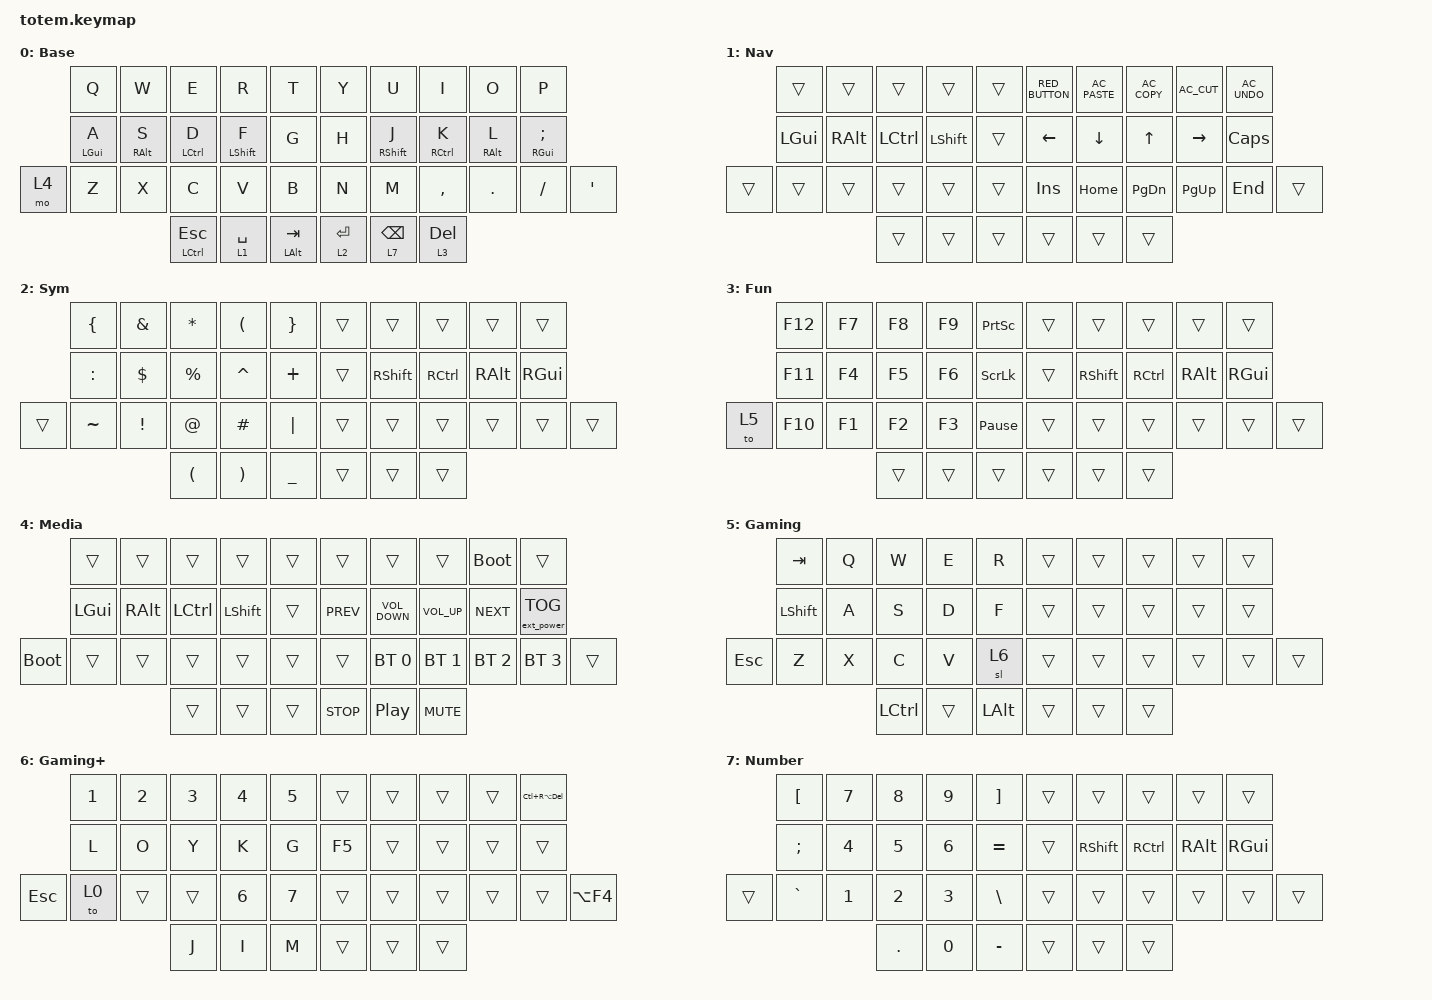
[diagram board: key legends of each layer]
//
//                                                        ▀▀▀▀▀     ▀▀▀▀▀          ▀▀█▀▀
//                                                        ▄▀▀▀▄  ▄  ▄▀▀▀▄  ▄  ▄▀▀▀▄  █  ▄▀▀▀▄
//                                                        █   █  █  █   █  █  █   █  █  █   █
//                                                         ▀▀▀   █   ▀▀▀   █   ▀▀▀   ▀   ▀▀▀
//                                                               █      ▄▄▄█▄▄▄    █   █  
//                                                               ▀      █  █  █     █▄█
//                                                             ▀▀▀▀▀    █  █  █      ▀
//                                                                      ▀  ▀  ▀
//
// ▄▄▄▄▄▄▄▄▄▄▄▄▄▄▄▄▄▄▄▄▄▄▄▄▄▄▄▄▄▄▄▄▄▄▄▄▄▄▄▄▄▄▄▄▄▄▄▄▄▄▄▄▄▄▄▄▄▄▄▄▄▄▄▄▄▄▄▄▄▄▄▄▄▄▄▄▄▄▄▄▄▄▄▄▄▄▄▄▄▄▄▄▄▄▄▄▄▄▄▄▄▄▄▄▄▄▄▄▄▄▄▄▄▄▄▄▄▄▄▄▄▄▄▄▄▄▄▄▄▄▄▄▄▄▄▄▄▄▄▄▄▄▄▄▄▄▄▄▄

#include <behaviors.dtsi>
#include <dt-bindings/zmk/bt.h>
#include <dt-bindings/zmk/ext_power.h>
#include <dt-bindings/zmk/keys.h>

#define Base        0
#define Media       1
#define Nav         2
#define Mouse       3
#define Sym         4
#define Num         5
#define Fun         6
#define Button      7
#define Game        8
#define Gameplus    9

&mt {
    quick-tap-ms = <100>;
    global-quick-tap;
    flavor = "tap-preferred";
    tapping-term-ms = <170>;
};

&lt {
    tapping-term-ms = <240>;
    flavor = "balanced";
    quick-tap-ms = <150>;
};

/ {
    behaviors {
        hml: homerow_mods {
            compatible = "zmk,behavior-hold-tap";
            label = "HOMEROW_MODS";
            #binding-cells = <2>;
            flavor = "balanced";
            tapping-term-ms = <280>;
            quick-tap-ms = <175>;
            global-quick-tap;
            bindings = <&kp>, <&kp>;

            require-prior-idle-ms = <150>;
            hold-trigger-on-release;
            hold-trigger-key-positions = <32 33 34 35 37 36 26 27 16 15 5 6 7 17 28 29 18 8 9 30 19 31>;
        };

        hmr: hmr {
            compatible = "zmk,behavior-hold-tap";
            label = "HMR";
            #binding-cells = <2>;
            flavor = "balanced";
            tapping-term-ms = <280>;
            quick-tap-ms = <175>;
            global-quick-tap;
            bindings = <&kp>, <&kp>;

            require-prior-idle-ms = <150>;
            hold-trigger-on-release;
            hold-trigger-key-positions = <32 33 34 35 37 36 25 24 23 22 21 20 10 0 11 1 2 12 3 13 14 4>;
        };
    };

    combos { compatible = "zmk,combos"; };

    keymap {
        compatible = "zmk,keymap";

        Base {
            label = "Base";
            bindings = <
       &kp Q        &kp W             &kp E          &kp R          &kp T               &kp Y        &kp U          &kp I         &kp O             &kp P
       &hml LGUI A  &hml RIGHT_ALT S  &hml LCTRL D   &hml LSHIFT F  &kp G               &kp H        &hmr RSHIFT J  &hmr RCTRL K  &hmr RIGHT_ALT L  &hmr RGUI SEMICOLON
&mo 4  &kp Z        &kp X             &kp C          &kp V          &kp B               &kp N        &kp M          &kp COMMA     &kp DOT           &kp SLASH            &kp APOSTROPHE
                                      &mt LCTRL ESC  &lt 1 SPACE    &mt LEFT_ALT TAB    &lt 2 ENTER  &lt 7 BSPC     &lt 3 DELETE
            >;
        };

        Nav {
            label = "Nav";
            bindings = <
        &trans    &trans         &trans     &trans     &trans    &kp C_RED_BUTTON  &kp C_AC_PASTE  &kp C_AC_COPY  &kp C_AC_CUT  &kp C_AC_UNDO
        &kp LGUI  &kp RIGHT_ALT  &kp LCTRL  &kp LSHFT  &trans    &kp LEFT_ARROW    &kp DOWN_ARROW  &kp UP_ARROW   &kp RIGHT     &kp CAPSLOCK
&trans  &trans    &trans         &trans     &trans     &trans    &kp INSERT        &kp HOME        &kp PAGE_DOWN  &kp PAGE_UP   &kp END        &trans
                                 &trans     &trans     &trans    &trans            &trans          &trans
            >;
        };

        Sym {
            label = "Sym";
            bindings = <
        &kp LEFT_BRACE  &kp AMPERSAND    &kp ASTERISK          &kp LEFT_PARENTHESIS   &kp RIGHT_BRACE    &trans  &trans     &trans     &trans         &trans
        &kp COLON       &kp DOLLAR       &kp PERCENT           &kp CARET              &kp PLUS           &trans  &kp RSHFT  &kp RCTRL  &kp RIGHT_ALT  &kp RGUI
&trans  &kp TILDE       &kp EXCLAMATION  &kp AT_SIGN           &kp HASH               &kp PIPE           &trans  &trans     &trans     &trans         &trans    &trans
                                         &kp LEFT_PARENTHESIS  &kp RIGHT_PARENTHESIS  &kp UNDER          &trans  &trans     &trans
            >;
        };

        Fun {
            label = "Fun";
            bindings = <
       &kp F12  &kp F7  &kp F8  &kp F9  &kp PRINTSCREEN    &trans  &trans     &trans     &trans         &trans
       &kp F11  &kp F4  &kp F5  &kp F6  &kp SCROLLLOCK     &trans  &kp RSHFT  &kp RCTRL  &kp RIGHT_ALT  &kp RGUI
&to 5  &kp F10  &kp F1  &kp F2  &kp F3  &kp PAUSE_BREAK    &trans  &trans     &trans     &trans         &trans    &trans
                        &trans  &trans  &trans             &trans  &trans     &trans
            >;
        };

        Media {
            label = "Media";
            bindings = <
             &trans    &trans         &trans     &trans      &trans    &trans      &trans             &trans           &bootloader   &trans
             &kp LGUI  &kp RIGHT_ALT  &kp LCTRL  &kp LSHIFT  &trans    &kp C_PREV  &kp C_VOLUME_DOWN  &kp C_VOLUME_UP  &kp C_NEXT    &ext_power EP_TOG
&bootloader  &trans    &trans         &trans     &trans      &trans    &trans      &bt BT_SEL 0       &bt BT_SEL 1     &bt BT_SEL 2  &bt BT_SEL 3       &trans
                                      &trans     &trans      &trans    &kp C_STOP  &kp C_PLAY_PAUSE   &kp C_MUTE
            >;
        };

        Gaming {
            bindings = <
            &kp TAB    &kp Q  &kp W      &kp E   &kp R           &trans  &trans  &trans  &trans  &trans
            &kp LSHFT  &kp A  &kp S      &kp D   &kp F           &trans  &trans  &trans  &trans  &trans
&kp ESCAPE  &kp Z      &kp X  &kp C      &kp V   &sl 6           &trans  &trans  &trans  &trans  &trans  &trans
                              &kp LCTRL  &trans  &kp LEFT_ALT    &trans  &trans  &trans
            >;

            label = "Gaming";
        };

        Gaming+ {
            bindings = <
         &kp NUMBER_1  &kp NUMBER_2  &kp NUMBER_3  &kp NUMBER_4  &kp NUMBER_5    &trans  &trans  &trans  &trans  &kp LC(RA(DEL))
         &kp L         &kp O         &kp Y         &kp K         &kp G           &kp F5  &trans  &trans  &trans  &trans
&kp ESC  &to 0         &trans        &trans        &kp NUMBER_6  &kp NUMBER_7    &trans  &trans  &trans  &trans  &trans           &kp LA(F4)
                                     &kp J         &kp I         &kp M           &trans  &trans  &trans
            >;

            label = "Gaming+";
        };

        Number {
            bindings = <
        &kp LBKT   &kp N7  &kp N8   &kp N9  &kp RBKT     &trans  &trans     &trans     &trans         &trans
        &kp SEMI   &kp N4  &kp N5   &kp N6  &kp EQUAL    &trans  &kp RSHFT  &kp RCTRL  &kp RIGHT_ALT  &kp RGUI
&trans  &kp GRAVE  &kp N1  &kp N2   &kp N3  &kp BSLH     &trans  &trans     &trans     &trans         &trans    &trans
                           &kp DOT  &kp N0  &kp MINUS    &trans  &trans     &trans
            >;

            label = "Number";
        };
    };
};
